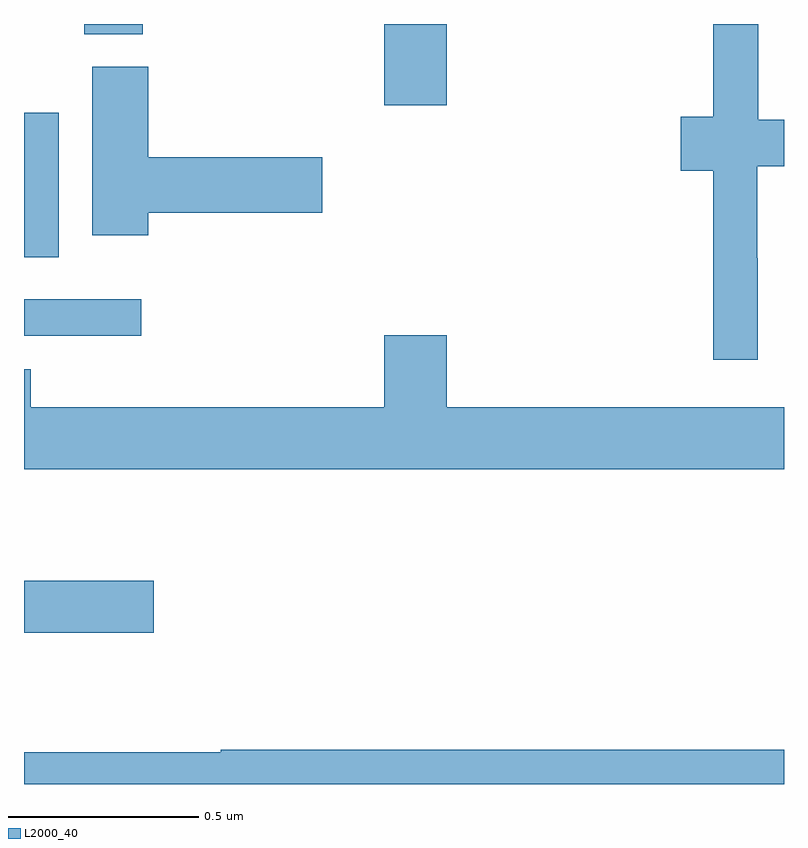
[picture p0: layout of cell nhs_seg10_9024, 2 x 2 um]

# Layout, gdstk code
import gdstk
lib = gdstk.Library(unit=1e-6, precision=1e-09)
def R(c, l, rs):  # rectangles x0, y0, x1, y1
    for r in rs: c.add(gdstk.rectangle(r[:2], r[2:], *l))
def P(c, l, *ps):  # polygons
    for p in ps: c.add(gdstk.Polygon(p, *l))
L2000_40 = (2000, 40)

nhs_seg10_9024 = lib.new_cell('nhs_seg10_9024')
R(nhs_seg10_9024, L2000_40, [(224,1287.898,224.341,1288.035), (224,1288.68,224.308,1288.776), (224,1288.886,224.092,1289.266), (224.948,1289.286,225.112,1289.5), (224.159,1289.473,224.312,1289.5)])
P(nhs_seg10_9024, L2000_40, [(225.931,1288.883),(225.93,1288.883),(225.93,1289.126),(226,1289.126),(226,1289.248),(225.932,1289.248),(225.932,1289.5),(225.814,1289.5),(225.814,1289.256),(225.728,1289.256),(225.728,1289.114),(225.814,1289.114),(225.814,1288.617),(225.931,1288.617)],
  [(224.327,1289.003),(224.785,1289.003),(224.785,1289.15),(224.327,1289.15),(224.327,1289.388),(224.18,1289.388),(224.18,1288.944),(224.327,1288.944)],
  [(226,1288.492),(225.112,1288.492),(225.112,1288.681),(224.948,1288.681),(224.948,1288.492),(224.018,1288.492),(224.018,1288.591),(224,1288.591),(224,1288.328),(226,1288.328)],
  [(226,1287.59),(224.518,1287.59),(224.518,1287.583),(224,1287.583),(224,1287.5),(226,1287.5)])

lib.write_gds('nhs_seg10_9024.gds')
